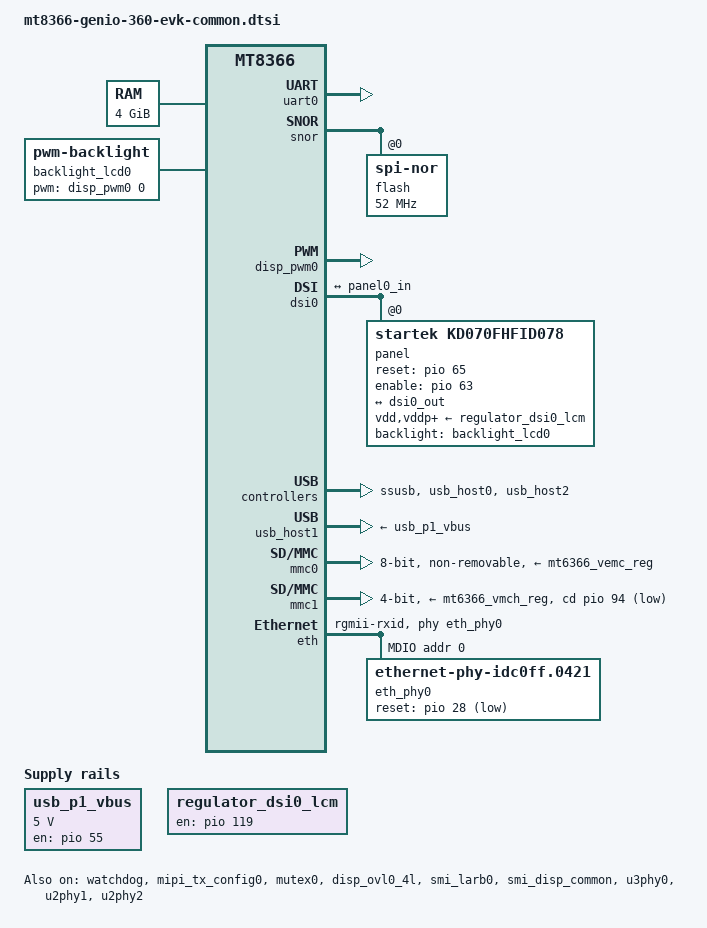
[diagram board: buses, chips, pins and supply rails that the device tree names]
// SPDX-License-Identifier: GPL-2.0-only OR MIT
/*
 * Copyright (C) 2026 MediaTek Inc.
 * Author: Macpaul Lin <macpaul.lin@mediatek.com>
 */

#include "mt8366.dtsi"
#include "mt6366.dtsi"

/ {
	aliases {
		ethernet0 = &eth;
		mmc0 = &mmc0;
		mmc1 = &mmc1;
		serial0 = &uart0;
	};

	memory@40000000 {
		device_type = "memory";
		/* 4GB */
		reg = <0 0x40000000 0x1 0x00000000>;
	};

	firmware: firmware {
		optee {
			compatible = "linaro,optee-tz";
			method = "smc";
		};

		psci: psci {
			compatible = "arm,psci-1.0";
			method = "smc";
		};
	};

	reserved-memory {
		#address-cells = <2>;
		#size-cells = <2>;
		ranges;

		/* 2 MiB reserved for ARM Trusted Firmware (BL31) */
		bl31_secmon_reserved: secmon@54600000 {
			no-map;
			reg = <0 0x54600000 0x0 0x200000>;
		};

		/*
		 * 12 MiB reserved for OP-TEE (BL32)
		 * +-----------------------+ 0x43e0_0000
		 * |      SHMEM 2MiB       |
		 * +-----------------------+ 0x43c0_0000
		 * |        | TA_RAM  8MiB |
		 * + TZDRAM +--------------+ 0x4340_0000
		 * |        | TEE_RAM 2MiB |
		 * +-----------------------+ 0x4320_0000
		 */
		optee_reserved: optee@43200000 {
			no-map;
			reg = <0 0x43200000 0 0x00c00000>;
		};
	};

	chosen {
		stdout-path = "serial0:921600n8";
	};

	usb_p1_vbus: regulator-usb-p1-vbus {
		compatible = "regulator-fixed";
		regulator-name = "usb-p1-vbus";
		regulator-min-microvolt = <5000000>;
		regulator-max-microvolt = <5000000>;
		gpio = <&pio 55 GPIO_ACTIVE_HIGH>;
		enable-active-high;
	};

	/*
	 * Panel VDD and IOVCC rails are switched by the same enable GPIO, so
	 * the -supply properties on the panel node all point at this one
	 * regulator instead of duplicating the GPIO across two nodes. This
	 * works as long as we don't care what the voltage is. Technically,
	 * there are two separate regulators though.
	 */
	regulator_dsi0_lcm: regulator-dsi0-lcm {
		compatible = "regulator-fixed";
		regulator-name = "dsi0-lcm";
		pinctrl-names = "default";
		pinctrl-0 = <&dsi0_lcm_pins_default>;
		gpio = <&pio 119 GPIO_ACTIVE_HIGH>;
		enable-active-high;
	};

	backlight_lcd0: backlight-lcd0 {
		compatible = "pwm-backlight";
		pwms = <&disp_pwm0 0 500000>;
		brightness-levels = <0 1023>;
		num-interpolated-steps = <1023>;
		default-brightness-level = <576>;
	};
};

&watchdog {
	status = "okay";
};

&uart0 {
	status = "okay";
};

&snor {
	pinctrl-names = "default";
	pinctrl-0 = <&snor_pins>;
	status = "okay";

	flash@0 {
		compatible = "jedec,spi-nor";
		reg = <0>;
		spi-max-frequency = <52000000>;
		spi-tx-bus-width = <4>;
		spi-rx-bus-width = <4>;
	};
};

&disp_pwm0 {
	status = "okay";
	pinctrl-names = "default";
	pinctrl-0 = <&disp_pwm0_pin_default>;
};

&dsi0 {
	status = "okay";
	#address-cells = <1>;
	#size-cells = <0>;

	panel@0 {
		compatible = "startek,kd070fhfid078", "himax,hx8279";
		reg = <0>;
		reset-gpios = <&pio 65 GPIO_ACTIVE_HIGH>;
		enable-gpios = <&pio 63 GPIO_ACTIVE_HIGH>;
		pinctrl-names = "default";
		pinctrl-0 = <&panel0_pins_default>;
		backlight = <&backlight_lcd0>;
		vdd-supply = <&regulator_dsi0_lcm>;
		vddp-supply = <&regulator_dsi0_lcm>;
		iovcc-supply = <&regulator_dsi0_lcm>;
		status = "okay";

		port {
			panel0_in: endpoint {
				remote-endpoint = <&dsi0_out>;
			};
		};
	};

	port {
		dsi0_out: endpoint {
			remote-endpoint = <&panel0_in>;
		};
	};
};

&mipi_tx_config0 {
	status = "okay";
};

&mutex0 {
	status = "okay";
};

&disp_ovl0_4l {
	status = "okay";
};

&disp_rdma0 {
	status = "okay";
};

&smi_larb0 {
	status = "okay";
};

&smi_disp_common {
	status = "okay";
};

&pio {
	disp_pwm0_pin_default: disp-pwm0-pins {
		pins {
			pinmux = <PINMUX_GPIO64__FUNC_DISP_PWM0>;
			output-high;
		};
	};

	panel0_pins_default: panel0-pins {
		pins {
			pinmux = <PINMUX_GPIO63__FUNC_GPIO63>,
				 <PINMUX_GPIO65__FUNC_GPIO65>;
			output-high;
		};
	};

	mmc0_pins_default: mmc0-default-pins {
		pins-clk {
			pinmux = <PINMUX_GPIO123__FUNC_MSDC0_CLK>;
			drive-strength = <MTK_DRIVE_4mA>;
			bias-pull-down = <MTK_PUPD_SET_R1R0_10>;
		};

		pins-cmd-dat {
			pinmux = <PINMUX_GPIO126__FUNC_MSDC0_DAT0>,
				 <PINMUX_GPIO127__FUNC_MSDC0_DAT1>,
				 <PINMUX_GPIO128__FUNC_MSDC0_DAT2>,
				 <PINMUX_GPIO129__FUNC_MSDC0_DAT3>,
				 <PINMUX_GPIO130__FUNC_MSDC0_DAT4>,
				 <PINMUX_GPIO131__FUNC_MSDC0_DAT5>,
				 <PINMUX_GPIO132__FUNC_MSDC0_DAT6>,
				 <PINMUX_GPIO133__FUNC_MSDC0_DAT7>,
				 <PINMUX_GPIO124__FUNC_MSDC0_CMD>;
			input-enable;
			drive-strength = <MTK_DRIVE_4mA>;
			bias-pull-up = <MTK_PUPD_SET_R1R0_01>;
		};

		pins-ds {
			pinmux = <PINMUX_GPIO122__FUNC_MSDC0_DSL>;
			drive-strength = <MTK_DRIVE_4mA>;
			bias-pull-down = <MTK_PUPD_SET_R1R0_10>;
		};

		pins-rst {
			pinmux = <PINMUX_GPIO125__FUNC_MSDC0_RSTB>;
			bias-pull-up = <MTK_PUPD_SET_R1R0_01>;
		};
	};

	mmc0_pins_uhs: mmc0-uhs-pins {
		pins-clk {
			pinmux = <PINMUX_GPIO123__FUNC_MSDC0_CLK>;
			drive-strength = <MTK_DRIVE_8mA>;
			bias-pull-down = <MTK_PUPD_SET_R1R0_10>;
		};

		pins-cmd-dat {
			pinmux = <PINMUX_GPIO126__FUNC_MSDC0_DAT0>,
				 <PINMUX_GPIO127__FUNC_MSDC0_DAT1>,
				 <PINMUX_GPIO128__FUNC_MSDC0_DAT2>,
				 <PINMUX_GPIO129__FUNC_MSDC0_DAT3>,
				 <PINMUX_GPIO130__FUNC_MSDC0_DAT4>,
				 <PINMUX_GPIO131__FUNC_MSDC0_DAT5>,
				 <PINMUX_GPIO132__FUNC_MSDC0_DAT6>,
				 <PINMUX_GPIO133__FUNC_MSDC0_DAT7>,
				 <PINMUX_GPIO124__FUNC_MSDC0_CMD>;
			input-enable;
			drive-strength = <MTK_DRIVE_8mA>;
			bias-pull-up = <MTK_PUPD_SET_R1R0_01>;
		};

		pins-ds {
			pinmux = <PINMUX_GPIO122__FUNC_MSDC0_DSL>;
			drive-strength = <MTK_DRIVE_8mA>;
			bias-pull-down = <MTK_PUPD_SET_R1R0_10>;
		};

		pins-rst {
			pinmux = <PINMUX_GPIO125__FUNC_MSDC0_RSTB>;
			bias-pull-up = <MTK_PUPD_SET_R1R0_01>;
		};
	};

	mmc1_pins_default: mmc1-default-pins {
		pins-clk {
			pinmux = <PINMUX_GPIO134__FUNC_MSDC1_CLK>;
			drive-strength = <MTK_DRIVE_4mA>;
			bias-pull-down = <MTK_PUPD_SET_R1R0_10>;
		};

		pins-cmd-dat {
			pinmux = <PINMUX_GPIO136__FUNC_MSDC1_DAT0>,
				 <PINMUX_GPIO137__FUNC_MSDC1_DAT1>,
				 <PINMUX_GPIO138__FUNC_MSDC1_DAT2>,
				 <PINMUX_GPIO139__FUNC_MSDC1_DAT3>,
				 <PINMUX_GPIO135__FUNC_MSDC1_CMD>;
			input-enable;
			drive-strength = <MTK_DRIVE_4mA>;
			bias-pull-up = <MTK_PUPD_SET_R1R0_01>;
		};

		pins-insert {
			pinmux = <PINMUX_GPIO94__FUNC_GPIO94>;
			bias-pull-up;
		};
	};

	mmc1_pins_uhs: mmc1-uhs-pins {
		pins-clk {
			pinmux = <PINMUX_GPIO134__FUNC_MSDC1_CLK>;
			drive-strength = <MTK_DRIVE_8mA>;
			bias-pull-down = <MTK_PUPD_SET_R1R0_10>;
		};

		pins-cmd-dat {
			pinmux = <PINMUX_GPIO136__FUNC_MSDC1_DAT0>,
				 <PINMUX_GPIO137__FUNC_MSDC1_DAT1>,
				 <PINMUX_GPIO138__FUNC_MSDC1_DAT2>,
				 <PINMUX_GPIO139__FUNC_MSDC1_DAT3>,
				 <PINMUX_GPIO135__FUNC_MSDC1_CMD>;
			input-enable;
			drive-strength = <MTK_DRIVE_8mA>;
			bias-pull-up = <MTK_PUPD_SET_R1R0_01>;
		};
	};

	usb0_default_pins: usb0-default-pins {
		pins-vbus-valid {
			pinmux = <PINMUX_GPIO54__FUNC_VBUSVALID>;
		};
	};

	dsi0_lcm_pins_default: dsi0-lcm-pins {
		pins {
			pinmux = <PINMUX_GPIO119__FUNC_GPIO119>;
			output-high;
		};
	};

	snor_pins: snor-pins {
		pins-ck-io {
			pinmux = <PINMUX_GPIO57__FUNC_SPINOR_CK>,
				 <PINMUX_GPIO59__FUNC_SPINOR_IO0>,
				 <PINMUX_GPIO60__FUNC_SPINOR_IO1>;
			drive-strength = <MTK_DRIVE_8mA>;
			bias-pull-down;
		};

		pins-cs {
			pinmux = <PINMUX_GPIO58__FUNC_SPINOR_CS>,
				 <PINMUX_GPIO61__FUNC_SPINOR_IO2>,
				 <PINMUX_GPIO62__FUNC_SPINOR_IO3>;
			drive-strength = <MTK_DRIVE_8mA>;
			bias-pull-up;
		};
	};

	eth_default: eth-default-pins {
		pins-txd {
			pinmux = <PINMUX_GPIO12__FUNC_GBE_TXD3>,
				 <PINMUX_GPIO13__FUNC_GBE_TXD2>,
				 <PINMUX_GPIO14__FUNC_GBE_TXD1>,
				 <PINMUX_GPIO15__FUNC_GBE_TXD0>;
			drive-strength = <MTK_DRIVE_8mA>;
		};

		pins-cc {
			pinmux = <PINMUX_GPIO20__FUNC_GBE_TXC>,
				 <PINMUX_GPIO23__FUNC_GBE_TXEN>,
				 <PINMUX_GPIO22__FUNC_GBE_RXDV>,
				 <PINMUX_GPIO21__FUNC_GBE_RXC>;
			drive-strength = <MTK_DRIVE_8mA>;
		};

		pins-rxd {
			pinmux = <PINMUX_GPIO16__FUNC_GBE_RXD3>,
				 <PINMUX_GPIO17__FUNC_GBE_RXD2>,
				 <PINMUX_GPIO18__FUNC_GBE_RXD1>,
				 <PINMUX_GPIO19__FUNC_GBE_RXD0>;
			drive-strength = <MTK_DRIVE_8mA>;
		};

		pins-mdio {
			pinmux = <PINMUX_GPIO24__FUNC_GBE_MDC>,
				 <PINMUX_GPIO25__FUNC_GBE_MDIO>;
			drive-strength = <MTK_DRIVE_8mA>;
			input-enable;
		};

		pins-power {
			pinmux = <PINMUX_GPIO27__FUNC_GPIO27>,
				 <PINMUX_GPIO26__FUNC_GPIO26>;
			output-high;
		};

		pins-reset {
			pinmux = <PINMUX_GPIO28__FUNC_GPIO28>;
		};
	};

	eth_sleep: eth-sleep-pins {
		pins-txd {
			pinmux = <PINMUX_GPIO12__FUNC_GPIO12>,
				 <PINMUX_GPIO13__FUNC_GPIO13>,
				 <PINMUX_GPIO14__FUNC_GPIO14>,
				 <PINMUX_GPIO15__FUNC_GPIO15>;
		};

		pins-cc {
			pinmux = <PINMUX_GPIO20__FUNC_GPIO20>,
				 <PINMUX_GPIO23__FUNC_GPIO23>,
				 <PINMUX_GPIO22__FUNC_GPIO22>,
				 <PINMUX_GPIO21__FUNC_GPIO21>;
		};

		pins-rxd {
			pinmux = <PINMUX_GPIO16__FUNC_GPIO16>,
				 <PINMUX_GPIO17__FUNC_GPIO17>,
				 <PINMUX_GPIO18__FUNC_GPIO18>,
				 <PINMUX_GPIO19__FUNC_GPIO19>;
		};

		pins-mdio {
			pinmux = <PINMUX_GPIO24__FUNC_GPIO24>,
				 <PINMUX_GPIO25__FUNC_GPIO25>;
			input-disable;
			bias-disable;
		};
	};
};

&ssusb {
	pinctrl-names = "default";
	pinctrl-0 = <&usb0_default_pins>;
	role-switch-default-mode = "peripheral";
	wakeup-source;
	status = "okay";
};

&usb_host0 {
	status = "okay";
};

&usb_host1 {
	vbus-supply = <&usb_p1_vbus>;
	status = "okay";
};

&usb_host2 {
	status = "okay";
};

&u3phy0 {
	status = "okay";
};

&u2phy1 {
	status = "okay";
};

&u2phy2 {
	status = "okay";
};

&mmc0 {
	status = "okay";
	pinctrl-names = "default", "state_uhs";
	pinctrl-0 = <&mmc0_pins_default>;
	pinctrl-1 = <&mmc0_pins_uhs>;
	bus-width = <8>;
	max-frequency = <200000000>;
	cap-mmc-highspeed;
	mmc-hs200-1_8v;
	mmc-hs400-1_8v;
	supports-cqe;
	mmc-hs400-enhanced-strobe;
	hs400-ds-delay = <0x10100>;
	cap-mmc-hw-reset;
	vmmc-supply = <&mt6366_vemc_reg>;
	vqmmc-supply = <&mt6366_vio18_reg>;
	no-sdio;
	no-sd;
	non-removable;
};

&mmc1 {
	status = "okay";
	pinctrl-names = "default", "state_uhs";
	pinctrl-0 = <&mmc1_pins_default>;
	pinctrl-1 = <&mmc1_pins_uhs>;
	bus-width = <4>;
	max-frequency = <200000000>;
	cap-sd-highspeed;
	sd-uhs-sdr50;
	sd-uhs-sdr104;
	cd-gpios = <&pio 94 GPIO_ACTIVE_LOW>;
	vmmc-supply = <&mt6366_vmch_reg>;
	vqmmc-supply = <&mt6366_vmc_reg>;
	no-sdio;
	no-mmc;
};

&eth {
	/* The TX clock delay is provided by the board, only RX needs an ID. */
	phy-mode = "rgmii-rxid";
	phy-handle = <&eth_phy0>;
	pinctrl-names = "default", "sleep";
	pinctrl-0 = <&eth_default>;
	pinctrl-1 = <&eth_sleep>;
	status = "okay";

	mdio {
		compatible = "snps,dwmac-mdio";
		#address-cells = <1>;
		#size-cells = <0>;

		eth_phy0: ethernet-phy@0 {
			compatible = "ethernet-phy-idc0ff.0421";
			reg = <0>;
			reset-gpios = <&pio 28 GPIO_ACTIVE_LOW>;
			reset-assert-us = <10000>;
			reset-deassert-us = <10000>;
		};
	};
};
